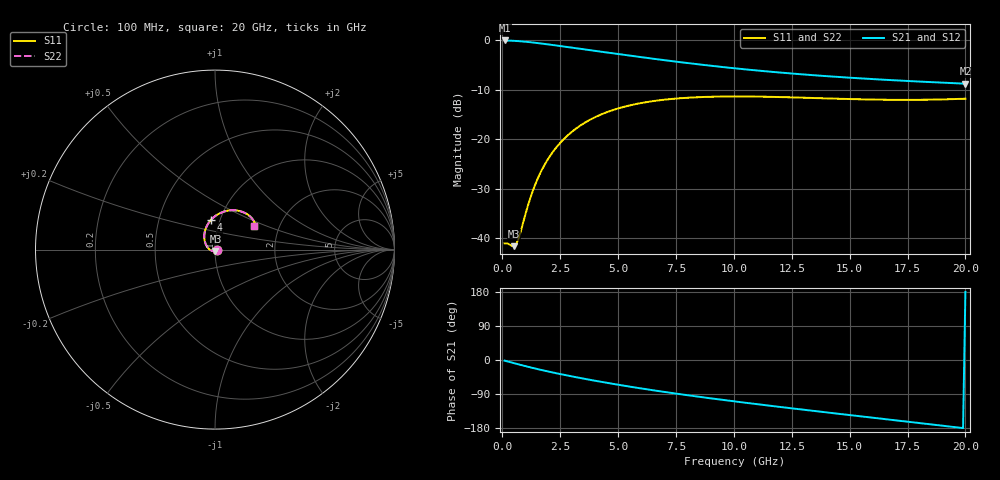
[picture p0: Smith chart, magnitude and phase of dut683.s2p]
! Touchstone file exported from HFSS 2024.1.0
!  File:  C:/UserFiles/LocalFiles/RDL_TSV_Batchsim/temp_RDL_TSV_683_1779816942.aedt
!  Generated:  01:52:01 AM May 27, 2026
!  Design:  RDL_TSV
!  Project:  temp_RDL_TSV_683_1779816942
!  Setup:  Setup1
!  Solution:  Sweep
! Variables:
!  dtsv = 8.87um
!  hbump = 3um
!  htsv = 97.48um
!  ldown = 587.94um
!  lrdl = 140.51um
!  p = 40
!  p1 = 53.88um
!  rhole = 10um
!  subl = 2325.86um
!  t = 450um
!  tdown = 4.97um
!  trdl = 3.83um
!  viad = 10um
!  wdown = 23um
!  wrdl = 25.03um
!  xbump = 18um
# GHz S MA R 50.000000
! Terminal data exported
! Port[1] = TM1_1_T1
! Port[2] = TM1_4_T1
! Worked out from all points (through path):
!   200 points, 100 MHz to 20 GHz, reference 50 ohm
!   highest |S21| = -0.08 dB at 100 MHz (marker M1); lowest = -8.8 dB at 20 GHz (marker M2)
!   group delay of S21, straight-line fit = 23.4 ps
!   lowest |S11| = -41.6 dB at 500 MHz (marker M3), VSWR 1.02, Z = 50.3 - j0.789 ohm
!   |S11| at or under -10 dB: start of sweep to end of sweep
!   |S22| runs from -41.6 to -11.4 dB; largest |S21 - S12| = 1.6e-14
!   S11 on the Smith chart (normalised r, x): 100 MHz: 1.02, -0.00; 4 GHz: 0.91, +0.31; 20 GHz: 1.49, +0.42
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0.1  0.008888 -9.0  0.9906 -1.7  0.9906 -1.7  0.008888 -9.0
! Gamma 0 0 0 0
! Port Impedance 50 0 50 0
0.5  0.008322 -70.6  0.9822 -8.3  0.9822 -8.3  0.008321 -70.6
0.6  0.008734 -91.9  0.979 -9.9  0.979 -9.9  0.008731 -91.9
0.7  0.009873 -112.6  0.9753 -11.5  0.9753 -11.5  0.009869 -112.6
1.1  0.0211 -166.1  0.9569 -17.8  0.9569 -17.8  0.02109 -166.2
1.3  0.02931 179.0  0.9459 -20.8  0.9459 -20.8  0.0293 179.0
1.5  0.03856 167.6  0.9341 -23.7  0.9341 -23.7  0.03854 167.6
1.8  0.05372 154.1  0.9154 -27.9  0.9154 -27.9  0.0537 154.1
2.1  0.06978 143.1  0.8962 -31.9  0.8962 -31.9  0.06975 143.1
2.5  0.09164 130.9  0.8704 -37.1  0.8704 -37.1  0.0916 130.8
3  0.1184 118.1  0.8387 -43.2  0.8387 -43.2  0.1184 118.1
3.5  0.1435 107.3  0.808 -49.1  0.808 -49.1  0.1434 107.3
4  0.1663 98.0  0.7784 -54.7  0.7784 -54.7  0.1662 98.0
5.2  0.2103 79.9  0.7122 -67.3  0.7122 -67.3  0.2101 79.9
6.8  0.2471 62.3  0.6352 -82.5  0.6352 -82.5  0.2468 62.3
8.4  0.2647 49.7  0.5713 -96.3  0.5713 -96.3  0.2644 49.7
10.1  0.2698 40.3  0.5169 -109.8  0.5169 -109.8  0.2693 40.3
11.7  0.267 34.2  0.4764 -121.8  0.4764 -121.8  0.2664 34.2
13.4  0.2603 30.3  0.4424 -134.0  0.4424 -134.0  0.2597 30.4
15  0.2539 28.7  0.417 -145.3  0.417 -145.3  0.2532 28.7
16.7  0.2495 28.6  0.3952 -157.2  0.3952 -157.2  0.2489 28.7
20  0.256 31.0  0.3629 179.7  0.3629 179.7  0.2554 31.2
